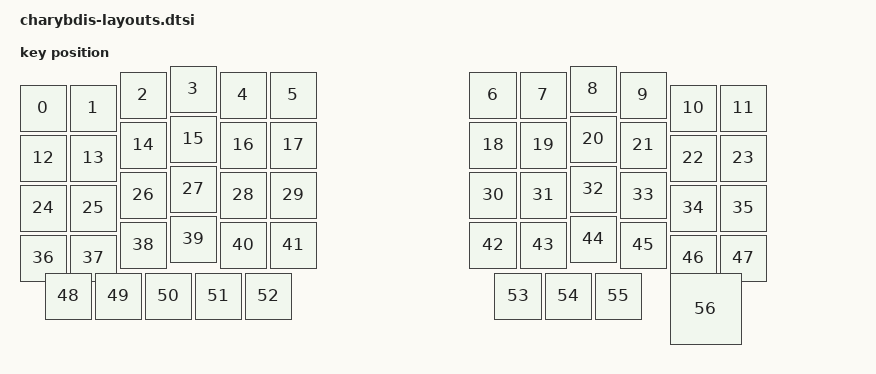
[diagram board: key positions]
#include <physical_layouts.dtsi>

/ {
    charybdis_physical_layout: charybdis_physical_layout {
        compatible = "zmk,physical-layout";
        display-name = "Charybdis 4x6";

        kscan = <&kscan0>;
        transform = <&default_transform>;

        keys
            // Left Half - Main Keys (4x6 grid)
            //                       w   h    x    y     rot    rx    ry
            = <&key_physical_attrs 100 100    0   38       0     0     0>
            , <&key_physical_attrs 100 100  100   38       0     0     0>
            , <&key_physical_attrs 100 100  200   12       0     0     0>
            , <&key_physical_attrs 100 100  300    0       0     0     0>
            , <&key_physical_attrs 100 100  400   12       0     0     0>
            , <&key_physical_attrs 100 100  500   12       0     0     0>
            , <&key_physical_attrs 100 100  900   12       0     0     0>
            , <&key_physical_attrs 100 100 1000   12       0     0     0>
            , <&key_physical_attrs 100 100 1100    0       0     0     0>
            , <&key_physical_attrs 100 100 1200   12       0     0     0>
            , <&key_physical_attrs 100 100 1300   38       0     0     0>
            , <&key_physical_attrs 100 100 1400   38       0     0     0>
            
            , <&key_physical_attrs 100 100    0  138       0     0     0>
            , <&key_physical_attrs 100 100  100  138       0     0     0>
            , <&key_physical_attrs 100 100  200  112       0     0     0>
            , <&key_physical_attrs 100 100  300  100       0     0     0>
            , <&key_physical_attrs 100 100  400  112       0     0     0>
            , <&key_physical_attrs 100 100  500  112       0     0     0>
            , <&key_physical_attrs 100 100  900  112       0     0     0>
            , <&key_physical_attrs 100 100 1000  112       0     0     0>
            , <&key_physical_attrs 100 100 1100  100       0     0     0>
            , <&key_physical_attrs 100 100 1200  112       0     0     0>
            , <&key_physical_attrs 100 100 1300  138       0     0     0>
            , <&key_physical_attrs 100 100 1400  138       0     0     0>
            
            , <&key_physical_attrs 100 100    0  238       0     0     0>
            , <&key_physical_attrs 100 100  100  238       0     0     0>
            , <&key_physical_attrs 100 100  200  212       0     0     0>
            , <&key_physical_attrs 100 100  300  200       0     0     0>
            , <&key_physical_attrs 100 100  400  212       0     0     0>
            , <&key_physical_attrs 100 100  500  212       0     0     0>
            , <&key_physical_attrs 100 100  900  212       0     0     0>
            , <&key_physical_attrs 100 100 1000  212       0     0     0>
            , <&key_physical_attrs 100 100 1100  200       0     0     0>
            , <&key_physical_attrs 100 100 1200  212       0     0     0>
            , <&key_physical_attrs 100 100 1300  238       0     0     0>
            , <&key_physical_attrs 100 100 1400  238       0     0     0>

            // New row (4th row)
            , <&key_physical_attrs 100 100    0  338       0     0     0>
            , <&key_physical_attrs 100 100  100  338       0     0     0>
            , <&key_physical_attrs 100 100  200  312       0     0     0>
            , <&key_physical_attrs 100 100  300  300       0     0     0>
            , <&key_physical_attrs 100 100  400  312       0     0     0>
            , <&key_physical_attrs 100 100  500  312       0     0     0>
            , <&key_physical_attrs 100 100  900  312       0     0     0>
            , <&key_physical_attrs 100 100 1000  312       0     0     0>
            , <&key_physical_attrs 100 100 1100  300       0     0     0>
            , <&key_physical_attrs 100 100 1200  312       0     0     0>
            , <&key_physical_attrs 100 100 1300  338       0     0     0>
            , <&key_physical_attrs 100 100 1400  338       0     0     0>

            // Thumb Clusters (5 on left, 3 on right + trackball)
            //                       w   h    x    y     rot    rx    ry
            // Left thumb cluster (5 keys)
            , <&key_physical_attrs 100 100   50  414       0     0     0>
            , <&key_physical_attrs 100 100  150  414       0     0     0>
            , <&key_physical_attrs 100 100  250  414       0     0     0>
            , <&key_physical_attrs 100 100  350  414       0     0     0>
            , <&key_physical_attrs 100 100  450  414       0     0     0>
            
            // Right thumb cluster (3 keys + trackball)
            , <&key_physical_attrs 100 100  950  414       0     0     0>
            , <&key_physical_attrs 100 100 1050  414       0     0     0>
            , <&key_physical_attrs 100 100 1150  414       0     0     0>
            // Trackball position (represented as a key for layout purposes)
            , <&key_physical_attrs 150 150 1300  414       0     0     0>
            ;
    };
};
